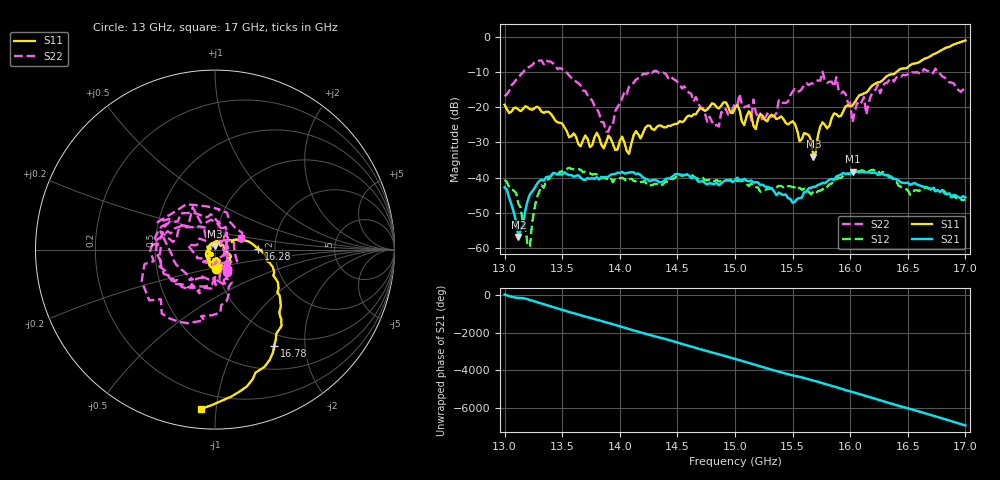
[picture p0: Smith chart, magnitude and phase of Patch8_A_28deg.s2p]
!Keysight Technologies,P9374A,MY57211810,A.19.30.04
!Date: Friday, May 09, 2025 09:21:32
!Correction: S11(Cdelta 2-Port  )
!S21(Cdelta 2-Port  )
!S12(Cdelta 2-Port  )
!S22(Cdelta 2-Port  )
!S2P File: Measurements: S11, S21, S12, S22:
# Hz S  dB  R 50
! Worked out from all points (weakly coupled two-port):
!   201 points, 13 GHz to 17 GHz, reference 50 ohm
!   highest |S21| = -38.32 dB at 16.02 GHz (marker M1); lowest = -56.9 dB at 13.12 GHz (marker M2)
!   lowest |S11| = -34.1 dB at 15.68 GHz (marker M3), VSWR 1.04, Z = 49.8 + j1.95 ohm
!   |S11| at or under -10 dB: start of sweep to 16.4 GHz
!   |S22| runs from -27.0 to -6.7 dB; largest |S21 - S12| = 0.0047
!   S11 on the Smith chart (normalised r, x): 13 GHz: 0.99, -0.22; 16.28 GHz: 1.63, +0.02; 16.78 GHz: 0.82, -1.46; 17 GHz: 0.11, -0.91
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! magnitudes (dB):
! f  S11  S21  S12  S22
! 13 GHz  -19.3  -42.8  -40.7  -16.9
! 13.12 GHz  -20.7  -56.9  -47.5  -11.7
! 13.22 GHz  -20.6  -44.8  -59.5  -8.4
! 13.32 GHz  -21.2  -40.6  -42.2  -6.7
! 13.68 GHz  -29.4  -40.6  -38.5  -15.2
! 13.9 GHz  -28.1  -39.8  -40.3  -27.0
! 14.08 GHz  -33.2  -38.6  -40.5  -14.2
! 14.34 GHz  -25.2  -41.3  -42.1  -10.2
! 14.82 GHz  -19.1  -41.9  -41.1  -25.3
! 15 GHz  -20.2  -40.8  -41.4  -19.0
! 15.14 GHz  -22.0  -40.9  -41.7  -23.6
! 15.16 GHz  -25.3  -41.4  -42.5  -17.8
! 15.24 GHz  -22.5  -42.0  -43.5  -24.1
! 15.5 GHz  -24.0  -47.2  -42.7  -15.5
! 15.68 GHz  -34.1  -42.7  -44.0  -13.2
! 15.74 GHz  -25.5  -41.9  -43.7  -12.5
! 15.88 GHz  -21.9  -39.7  -40.5  -11.4
! 16.02 GHz  -19.5  -38.3  -38.3  -24.3
! 16.28 GHz  -12.4  -38.8  -38.4  -14.1
! 16.34 GHz  -10.8  -40.0  -39.5  -12.2
! 16.78 GHz  -4.0  -44.1  -44.2  -10.5
! 17 GHz  -1.0  -45.7  -46.2  -15.9
